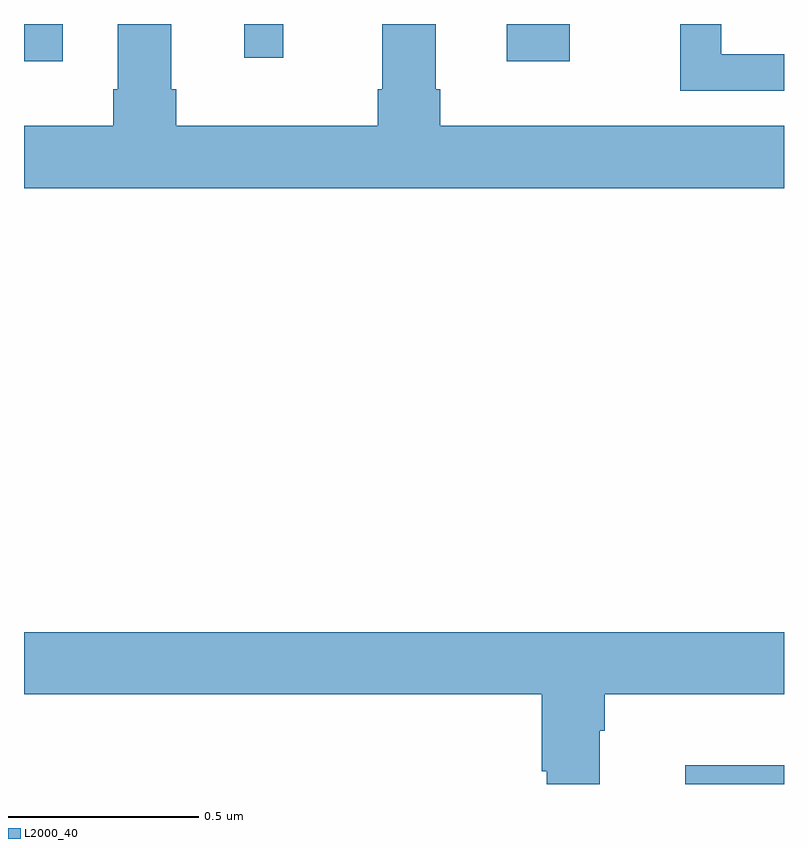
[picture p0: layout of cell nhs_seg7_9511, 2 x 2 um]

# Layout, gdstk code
import gdstk
lib = gdstk.Library(unit=1e-6, precision=1e-09)
def R(c, l, rs):  # rectangles x0, y0, x1, y1
    for r in rs: c.add(gdstk.rectangle(r[:2], r[2:], *l))
def P(c, l, *ps):  # polygons
    for p in ps: c.add(gdstk.Polygon(p, *l))
L2000_40 = (2000, 40)

nhs_seg7_9511 = lib.new_cell('nhs_seg7_9511')
R(nhs_seg7_9511, L2000_40, [(239.74,1047,240,1047.05), (238,1048.902,238.102,1049), (239.27,1048.902,239.436,1049), (238.58,1048.911,238.682,1049)])
P(nhs_seg7_9511, L2000_40, [(240,1048.732),(239.096,1048.732),(239.096,1048.828),(239.083,1048.828),(239.083,1049),(238.943,1049),(238.943,1048.828),(238.931,1048.828),(238.931,1048.732),(238.4,1048.732),(238.4,1048.828),(238.387,1048.828),(238.387,1049),(238.247,1049),(238.247,1048.828),(238.235,1048.828),(238.235,1048.732),(238,1048.732),(238,1048.568),(240,1048.568)],
  [(240,1048.92),(239.835,1048.92),(239.835,1049),(239.727,1049),(239.727,1048.824),(240,1048.824)],
  [(239.515,1047.14),(239.528,1047.14),(239.528,1047.236),(240,1047.236),(240,1047.4),(238,1047.4),(238,1047.236),(239.363,1047.236),(239.363,1047.034),(239.375,1047.034),(239.375,1047),(239.515,1047)])

lib.write_gds('nhs_seg7_9511.gds')
